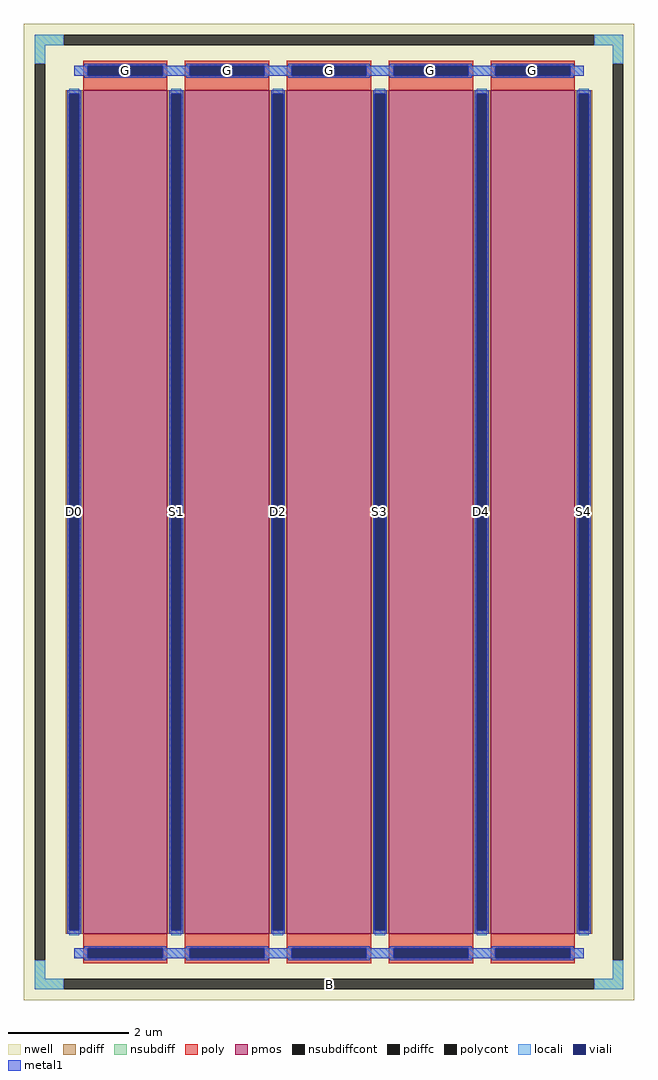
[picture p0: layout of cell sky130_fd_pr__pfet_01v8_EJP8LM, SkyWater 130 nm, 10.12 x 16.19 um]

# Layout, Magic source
magic
tech sky130A
magscale 1 2
<< nwell >>
rect -1012 -1619 1012 1619
<< pmos >>
rect -816 -1400 -536 1400
rect -478 -1400 -198 1400
rect -140 -1400 140 1400
rect 198 -1400 478 1400
rect 536 -1400 816 1400
<< pdiff >>
rect -874 1388 -816 1400
rect -874 -1388 -862 1388
rect -828 -1388 -816 1388
rect -874 -1400 -816 -1388
rect -536 1388 -478 1400
rect -536 -1388 -524 1388
rect -490 -1388 -478 1388
rect -536 -1400 -478 -1388
rect -198 1388 -140 1400
rect -198 -1388 -186 1388
rect -152 -1388 -140 1388
rect -198 -1400 -140 -1388
rect 140 1388 198 1400
rect 140 -1388 152 1388
rect 186 -1388 198 1388
rect 140 -1400 198 -1388
rect 478 1388 536 1400
rect 478 -1388 490 1388
rect 524 -1388 536 1388
rect 478 -1400 536 -1388
rect 816 1388 874 1400
rect 816 -1388 828 1388
rect 862 -1388 874 1388
rect 816 -1400 874 -1388
<< pdiffc >>
rect -862 -1388 -828 1388
rect -524 -1388 -490 1388
rect -186 -1388 -152 1388
rect 152 -1388 186 1388
rect 490 -1388 524 1388
rect 828 -1388 862 1388
<< nsubdiff >>
rect -976 1549 -880 1583
rect 880 1549 976 1583
rect -976 1487 -942 1549
rect 942 1487 976 1549
rect -976 -1549 -942 -1487
rect 942 -1549 976 -1487
rect -976 -1583 -880 -1549
rect 880 -1583 976 -1549
<< nsubdiffcont >>
rect -880 1549 880 1583
rect -976 -1487 -942 1487
rect 942 -1487 976 1487
rect -880 -1583 880 -1549
<< poly >>
rect -816 1481 -536 1497
rect -816 1447 -800 1481
rect -552 1447 -536 1481
rect -816 1400 -536 1447
rect -478 1481 -198 1497
rect -478 1447 -462 1481
rect -214 1447 -198 1481
rect -478 1400 -198 1447
rect -140 1481 140 1497
rect -140 1447 -124 1481
rect 124 1447 140 1481
rect -140 1400 140 1447
rect 198 1481 478 1497
rect 198 1447 214 1481
rect 462 1447 478 1481
rect 198 1400 478 1447
rect 536 1481 816 1497
rect 536 1447 552 1481
rect 800 1447 816 1481
rect 536 1400 816 1447
rect -816 -1447 -536 -1400
rect -816 -1481 -800 -1447
rect -552 -1481 -536 -1447
rect -816 -1497 -536 -1481
rect -478 -1447 -198 -1400
rect -478 -1481 -462 -1447
rect -214 -1481 -198 -1447
rect -478 -1497 -198 -1481
rect -140 -1447 140 -1400
rect -140 -1481 -124 -1447
rect 124 -1481 140 -1447
rect -140 -1497 140 -1481
rect 198 -1447 478 -1400
rect 198 -1481 214 -1447
rect 462 -1481 478 -1447
rect 198 -1497 478 -1481
rect 536 -1447 816 -1400
rect 536 -1481 552 -1447
rect 800 -1481 816 -1447
rect 536 -1497 816 -1481
<< polycont >>
rect -800 1447 -552 1481
rect -462 1447 -214 1481
rect -124 1447 124 1481
rect 214 1447 462 1481
rect 552 1447 800 1481
rect -800 -1481 -552 -1447
rect -462 -1481 -214 -1447
rect -124 -1481 124 -1447
rect 214 -1481 462 -1447
rect 552 -1481 800 -1447
<< locali >>
rect -976 1549 -880 1583
rect 880 1549 976 1583
rect -976 1487 -942 1549
rect 942 1487 976 1549
rect -845 1447 -800 1481
rect -552 1447 -462 1481
rect -214 1447 -124 1481
rect 124 1447 214 1481
rect 462 1447 552 1481
rect 800 1447 845 1481
rect -862 1388 -828 1404
rect -862 -1404 -828 -1388
rect -524 1388 -490 1404
rect -524 -1404 -490 -1388
rect -186 1388 -152 1404
rect -186 -1404 -152 -1388
rect 152 1388 186 1404
rect 152 -1404 186 -1388
rect 490 1388 524 1404
rect 490 -1404 524 -1388
rect 828 1388 862 1404
rect 828 -1404 862 -1388
rect -845 -1481 -800 -1447
rect -552 -1481 -462 -1447
rect -214 -1481 -124 -1447
rect 124 -1481 214 -1447
rect 462 -1481 552 -1447
rect 800 -1481 845 -1447
rect -976 -1549 -942 -1487
rect 942 -1549 976 -1487
rect -976 -1583 -880 -1549
rect 880 -1583 976 -1549
<< viali >>
rect -800 1447 -552 1481
rect -462 1447 -214 1481
rect -124 1447 124 1481
rect 214 1447 462 1481
rect 552 1447 800 1481
rect -862 -1388 -828 1388
rect -524 -1388 -490 1388
rect -186 -1388 -152 1388
rect 152 -1388 186 1388
rect 490 -1388 524 1388
rect 828 -1388 862 1388
rect -800 -1481 -552 -1447
rect -462 -1481 -214 -1447
rect -124 -1481 124 -1447
rect 214 -1481 462 -1447
rect 552 -1481 800 -1447
<< metal1 >>
rect -812 1481 -540 1487
rect -474 1481 -202 1487
rect -136 1481 136 1487
rect 202 1481 474 1487
rect 540 1481 812 1487
rect -845 1447 -800 1481
rect -552 1447 -462 1481
rect -214 1447 -124 1481
rect 124 1447 214 1481
rect 462 1447 552 1481
rect 800 1447 845 1481
rect -812 1441 -540 1447
rect -474 1441 -202 1447
rect -136 1441 136 1447
rect 202 1441 474 1447
rect 540 1441 812 1447
rect -868 1388 -822 1400
rect -868 -1388 -862 1388
rect -828 -1388 -822 1388
rect -868 -1400 -822 -1388
rect -530 1388 -484 1400
rect -530 -1388 -524 1388
rect -490 -1388 -484 1388
rect -530 -1400 -484 -1388
rect -192 1388 -146 1400
rect -192 -1388 -186 1388
rect -152 -1388 -146 1388
rect -192 -1400 -146 -1388
rect 146 1388 192 1400
rect 146 -1388 152 1388
rect 186 -1388 192 1388
rect 146 -1400 192 -1388
rect 484 1388 530 1400
rect 484 -1388 490 1388
rect 524 -1388 530 1388
rect 484 -1400 530 -1388
rect 822 1388 868 1400
rect 822 -1388 828 1388
rect 862 -1388 868 1388
rect 822 -1400 868 -1388
rect -812 -1447 -540 -1441
rect -474 -1447 -202 -1441
rect -136 -1447 136 -1441
rect 202 -1447 474 -1441
rect 540 -1447 812 -1441
rect -845 -1481 -800 -1447
rect -552 -1481 -462 -1447
rect -214 -1481 -124 -1447
rect 124 -1481 214 -1447
rect 462 -1481 552 -1447
rect 800 -1481 845 -1447
rect -812 -1487 -540 -1481
rect -474 -1487 -202 -1481
rect -136 -1487 136 -1481
rect 202 -1487 474 -1481
rect 540 -1487 812 -1481
<< labels >>
rlabel nsubdiffcont 0 -1566 0 -1566 0 B
port 1 nsew
rlabel pdiffc -845 0 -845 0 0 D0
port 2 nsew
rlabel polycont -676 1464 -676 1464 0 G
port 3 nsew
rlabel pdiffc -507 0 -507 0 0 S1
port 4 nsew
rlabel polycont -338 1464 -338 1464 0 G
port 3 nsew
rlabel pdiffc -169 0 -169 0 0 D2
port 5 nsew
rlabel polycont 0 1464 0 1464 0 G
port 3 nsew
rlabel pdiffc 169 0 169 0 0 S3
port 6 nsew
rlabel polycont 338 1464 338 1464 0 G
port 3 nsew
rlabel pdiffc 507 0 507 0 0 D4
port 7 nsew
rlabel pdiffc 845 0 845 0 0 S4
port 8 nsew
rlabel polycont 676 1464 676 1464 0 G
port 3 nsew
<< properties >>
string FIXED_BBOX -959 -1566 959 1566
string gencell sky130_fd_pr__pfet_01v8
string library sky130
string parameters w 14 l 1.4 m 1 nf 5 diffcov 100 polycov 100 guard 1 glc 1 grc 1 gtc 1 gbc 1 tbcov 100 rlcov 100 topc 1 botc 1 poverlap 0 doverlap 1 lmin 0.15 wmin 0.42 class mosfet compatible {sky130_fd_pr__pfet_01v8  sky130_fd_pr__pfet_01v8_lvt sky130_fd_pr__pfet_01v8_hvt  sky130_fd_pr__pfet_g5v0d10v5} full_metal 1 conn_gates 1 viasrc 100 viadrn 100 viagate 100 viagb 0 viagr 0 viagl 0 viagt 0 doports 1
<< end >>
